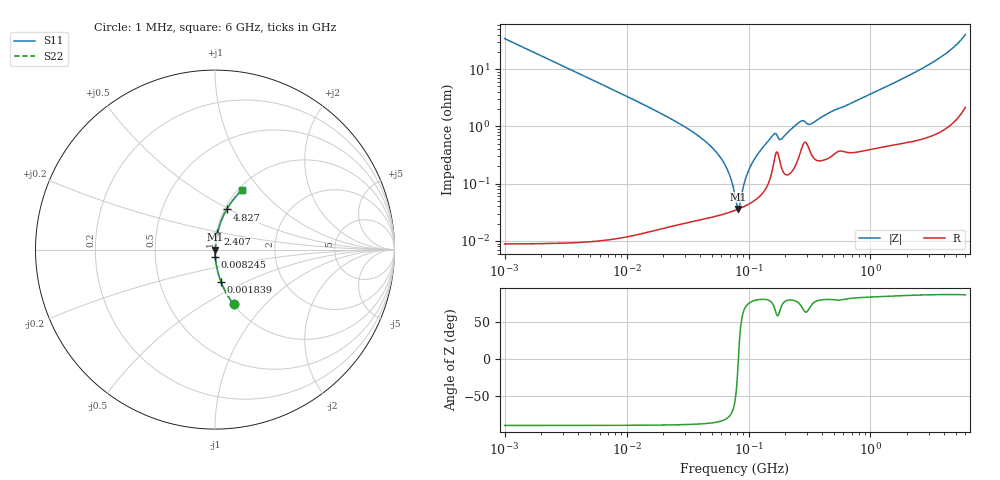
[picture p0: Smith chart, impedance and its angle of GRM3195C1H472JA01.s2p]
!Murata Part Number: GRM3195C1H472JA01
!These Parameters are Measured in Series Mode Connection
!Data Generated on Mar 30, 2021
!  o--ll--o
!Port1  Port2
!  o------o
!Operation Temp=25[degC], DC Bias Voltage=0[V]
!Freq. Start=1000[kHz] Stop=6[GHz] 401[Steps]
# Hz S RI R 50
!Freq.(Hz) S11(Real) S11(Imag) S21(Real) S21(Imag) S12(Real) S12(Imag) S22(Real) S22(Imag)
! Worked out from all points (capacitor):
!   401 points, 1 MHz to 6 GHz, reference 50 ohm
!   read as one part in series: C = 4.67 nF near 1.044 MHz
!   lowest |Z| = 36 mohm at 82.68 MHz (marker M1)
!   series resonance near 82.55 MHz, so ESL is about 800 pH
!   S11 on the Smith chart (normalised r, x): 1 MHz: 1.00, -0.68; 1.839 MHz: 1.00, -0.37; 8.245 MHz: 1.00, -0.08; 2.407 GHz: 1.01, +0.18; 4.827 GHz: 1.02, +0.48; 6 GHz: 1.04, +0.80
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1000000  0.104 -0.3052  0.896 0.3052  0.896 0.3052  0.104 -0.3052
1838529  0.0332 -0.179  0.9668 0.179  0.9668 0.179  0.0332 -0.179
4293785  0.00631 -0.0786  0.9937 0.0786  0.9937 0.0786  0.00631 -0.0786
8245209  0.00178 -0.0408  0.9982 0.0408  0.9982 0.0408  0.00178 -0.0408
1.843659e7  0.000464 -0.0175  0.9995 0.0175  0.9995 0.0175  0.000464 -0.0175
3.540316e7  0.00028 -0.00782  0.9997 0.00782  0.9997 0.00782  0.00028 -0.00782
5.236714e7  0.00028 -0.00388  0.9997 0.00388  0.9997 0.00388  0.00028 -0.00388
6.652088e7  0.000309 -0.0018  0.9997 0.0018  0.9997 0.0018  0.000309 -0.0018
7.256705e7  0.000325 -0.00107  0.9997 0.00107  0.9997 0.00107  0.000325 -0.00107
7.745967e7  0.000341 -0.00053  0.9997 0.00053  0.9997 0.00053  0.000341 -0.00053
8.268215e7  0.00036 1.34e-05  0.9996 -1.34e-05  0.9996 -1.34e-05  0.00036 1.34e-05
8.635799e7  0.000374 0.000377  0.9996 -0.000377  0.9996 -0.000377  0.000374 0.000377
9.627852e7  0.000419 0.0013  0.9996 -0.0013  0.9996 -0.0013  0.000419 0.0013
1.050294e8  0.000467 0.00206  0.9995 -0.00206  0.9995 -0.00206  0.000467 0.00206
1.553559e8  0.00163 0.00648  0.9984 -0.00648  0.9984 -0.00648  0.00163 0.00648
1.848803e8  0.00204 0.00558  0.998 -0.00558  0.998 -0.00558  0.00204 0.00558
2.675853e8  0.00376 0.0116  0.9962 -0.0116  0.9962 -0.0116  0.00376 0.0116
3.325952e8  0.00316 0.0108  0.9968 -0.0108  0.9968 -0.0108  0.00316 0.0108
1.428092e9  0.00723 0.0516  0.9928 -0.0516  0.9928 -0.0516  0.00723 0.0516
2.40683e9  0.0138 0.0897  0.9862 -0.0897  0.9862 -0.0897  0.0138 0.0897
4.827224e9  0.0652 0.2236  0.9348 -0.2236  0.9348 -0.2236  0.0652 0.2236
6e9  0.152 0.3333  0.848 -0.3333  0.848 -0.3333  0.152 0.3333
